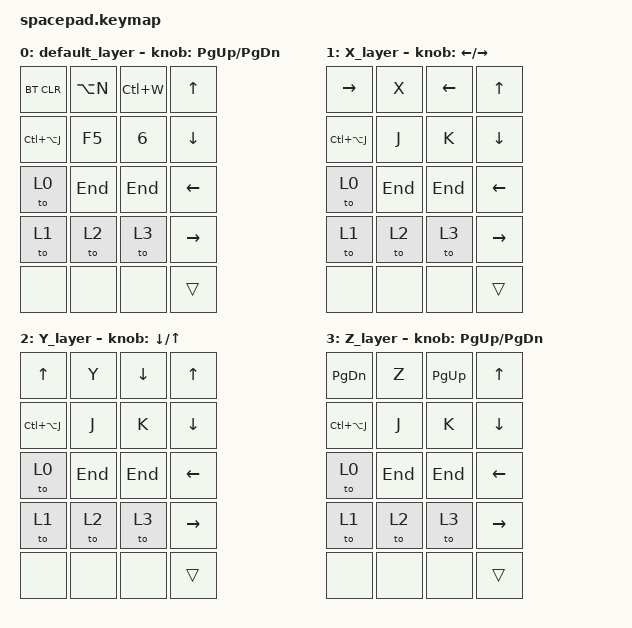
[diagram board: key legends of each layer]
/*
 * Copyright (c) 2020 The ZMK Contributors
 *
 * SPDX-License-Identifier: MIT
 */

#include <behaviors.dtsi>
#include <dt-bindings/zmk/bt.h>
#include <dt-bindings/zmk/keys.h>
#include <dt-bindings/zmk/outputs.h>

/ {
    keymap {
        compatible = "zmk,keymap";

        default_layer {
// ----------------------------------------
// | cycle start | Singleblock |  Rewind  |
// | Jog on/off  | spindle on  |  right   |
// |   default   |     Stop    |  Stop    |
// |   X_layer   |    Y_layer  |  Z_layer |
// ----------------------------------------
            bindings = <
    &bt BT_CLR     &kp LA(N) &kp LC(W)   &kp UP_ARROW
    &kp LC(LA(J)) &kp F5    &kp N6      &kp DOWN_ARROW
    &to  0        &kp END   &kp END     &kp LEFT_ARROW
    &to 1         &to 2     &to 3       &kp RIGHT_ARROW
    &none         &none     &none       &trans
            >;

            sensor-bindings = <&inc_dec_kp PAGE_UP PAGE_DOWN>;
        };

         X_layer {
// --------------------------
// |       X+     |      ZeroX    |      X-     |
// |  Jog on/off  |   Jog con/inc |   stepsize  |
// |    default   |     Stop      |     Stop    |
// |    Default   |    Y_layer    |   Z_layer   |
// --------------------------
             bindings = <
    &kp RIGHT_ARROW     &kp X    &kp LEFT_ARROW   &kp UP_ARROW
    &kp LC(LA(J))       &kp J    &kp K            &kp DOWN_ARROW
    &to  0              &kp END   &kp END         &kp LEFT_ARROW
    &to 1               &to 2    &to 3            &kp RIGHT_ARROW
    &none               &none    &none            &trans
             >;

             sensor-bindings = <&inc_dec_kp LEFT_ARROW RIGHT_ARROW>;
         };
        
         Y_layer {
// --------------------------
// |       Y+     |      ZeroY    |      Y-     |
// |  Jog on/off  |   Jog con/inc |   stepsize  |
// |    default   |     Stop      |     Stop    |
// |    X_layer   |    Default    |   Z_layer   |
// --------------------------
             bindings = <
    &kp UP_ARROW        &kp Y    &kp DOWN_ARROW   &kp UP_ARROW
    &kp LC(LA(J))       &kp J    &kp K            &kp DOWN_ARROW
    &to  0              &kp END   &kp END         &kp LEFT_ARROW
    &to 1               &to 2    &to 3            &kp RIGHT_ARROW
    &none               &none    &none            &trans
             >;

             sensor-bindings = <&inc_dec_kp DOWN_ARROW UP_ARROW>;
         };
         
         Z_layer {
// --------------------------
// |       Z+     |      ZeroZ    |      Z-     |
// |  Jog on/off  |   Jog con/inc |   stepsize  |
// |    default   |     Stop      |     Stop    |
// |    X_layer   |    Y_layer    |   Default   |
// --------------------------
             bindings = <
    &kp PAGE_DOWN       &kp Z    &kp PAGE_UP      &kp UP_ARROW
    &kp LC(LA(J))       &kp J    &kp K            &kp DOWN_ARROW
    &to  0              &kp END   &kp END         &kp LEFT_ARROW
    &to 1               &to 2    &to 3            &kp RIGHT_ARROW
    &none               &none    &none            &trans
             >;

             sensor-bindings = <&inc_dec_kp PAGE_UP PAGE_DOWN>;
         };
    };
};
